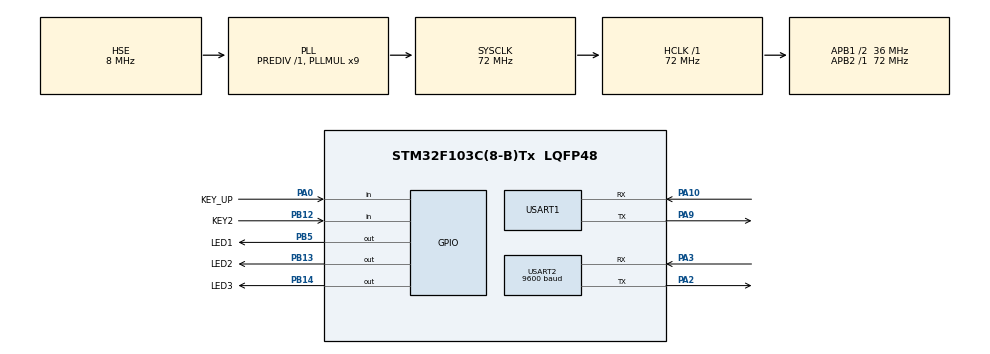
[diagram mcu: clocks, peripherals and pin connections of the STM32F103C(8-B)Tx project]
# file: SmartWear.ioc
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Mcu.Family=STM32F1
Mcu.Name=STM32F103C(8-B)Tx
Mcu.Package=LQFP48
NVIC.PriorityGroup=NVIC_PRIORITYGROUP_4
NVIC.USART1_IRQn=true\:0\:0\:false\:false\:true\:true\:true\:true
NVIC.USART2_IRQn=true\:0\:0\:false\:false\:true\:true\:true\:true
PA0-WKUP.GPIO_Label=KEY_UP
PA0-WKUP.GPIO_PuPd=GPIO_PULLDOWN
PA0-WKUP.Signal=GPIO_Input
PA10.Mode=Asynchronous
PA10.Signal=USART1_RX
PA2.Mode=Asynchronous
PA2.Signal=USART2_TX
PA3.Mode=Asynchronous
PA3.Signal=USART2_RX
PA9.Mode=Asynchronous
PA9.Signal=USART1_TX
PB12.GPIO_Label=KEY2
PB12.GPIO_PuPd=GPIO_PULLUP
PB12.Signal=GPIO_Input
PB13.GPIO_Label=LED2
PB13.GPIO_PuPd=GPIO_PULLUP
PB13.GPIO_Speed=GPIO_SPEED_FREQ_HIGH
PB13.PinState=GPIO_PIN_SET
PB13.Signal=GPIO_Output
PB14.GPIO_Label=LED3
PB14.GPIO_PuPd=GPIO_PULLUP
PB14.GPIO_Speed=GPIO_SPEED_FREQ_HIGH
PB14.PinState=GPIO_PIN_SET
PB14.Signal=GPIO_Output
PB5.GPIO_Label=LED1
PB5.GPIO_ModeDefaultOutputPP=GPIO_MODE_OUTPUT_PP
PB5.GPIO_PuPd=GPIO_PULLUP
PB5.GPIO_Speed=GPIO_SPEED_FREQ_HIGH
PB5.PinState=GPIO_PIN_SET
PB5.Signal=GPIO_Output
PD0-OSC_IN.Mode=HSE-External-Oscillator
PD0-OSC_IN.Signal=RCC_OSC_IN
PD1-OSC_OUT.Mode=HSE-External-Oscillator
PD1-OSC_OUT.Signal=RCC_OSC_OUT
ProjectManager.HeapSize=0x200
ProjectManager.StackSize=0x400
ProjectManager.TargetToolchain=MDK-ARM V5.27
RCC.AHBFreq_Value=72000000
RCC.APB1CLKDivider=RCC_HCLK_DIV2
RCC.APB1Freq_Value=36000000
RCC.APB1TimFreq_Value=72000000
RCC.APB2Freq_Value=72000000
RCC.APB2TimFreq_Value=72000000
RCC.HCLKFreq_Value=72000000
RCC.PLLMUL=RCC_PLL_MUL9
RCC.PLLSourceVirtual=RCC_PLLSOURCE_HSE
RCC.SYSCLKFreq_VALUE=72000000
RCC.SYSCLKSource=RCC_SYSCLKSOURCE_PLLCLK
RCC.USBFreq_Value=72000000
USART1.VirtualMode=VM_ASYNC
USART2.BaudRate=9600
USART2.VirtualMode=VM_ASYNC
VP_SYS_VS_ND.Mode=No_Debug
board=custom

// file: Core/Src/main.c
/* USER CODE BEGIN Header */
/**
  ******************************************************************************
  * @file           : main.c
  * @brief          : Main program body
  ******************************************************************************
  * @attention
  *
  * Copyright (c) 2023 STMicroelectronics.
  * All rights reserved.
  *
  * This software is licensed under terms that can be found in the LICENSE file
  * in the root directory of this software component.
  * If no LICENSE file comes with this software, it is provided AS-IS.
  *
  ******************************************************************************
  */
/* USER CODE END Header */
#include "main.h"
#include "usart.h"
#include "gpio.h"

/* USER CODE BEGIN Includes */
#include "led.h"
#include "key.h"
/* USER CODE END Includes */

void SystemClock_Config(void);

int main(void)
{
  /* USER CODE BEGIN 1 */
    uint8_t i = 0;
    uint16_t usCount = 0;
  /* USER CODE END 1 */

  /* MCU Configuration--------------------------------------------------------*/

  /* Reset of all peripherals, Initializes the Flash interface and the Systick. */
  HAL_Init();

  /* Configure the system clock */
  SystemClock_Config();

  /* Initialize all configured peripherals */
  MX_GPIO_Init();
  MX_USART1_UART_Init();
  MX_USART2_UART_Init();
  /* USER CODE BEGIN 2 */
  TEMP_Init();
  /* USER CODE END 2 */

  /* Infinite loop */
  while (1)
  {

    /* USER CODE BEGIN 3 */
    HAL_Delay(1);
    /* 运行指示灯：100ms */
    usCount++;
    if (usCount % 100 == 0)
    {
      GetTempInfo();
      i = !i;
    }
    if (i)    LED3_ON();
    else      LED3_OFF();

    /* 获取键值 */
    uint8_t ucKeyVal = KEY_Scan();
    switch (ucKeyVal)
    {
      case KEY_UP_PRES: printf("KEY_UP_PRES\r\n");
          break;
      case KEY2_PRES:   printf("KEY2_PRES\r\n");
          break;
    }

    /* 串口1接收数据处理 */
    if (g_ucUart1RxFlag)
    {
        printf("UART1_RX:%s\r\n", g_ucUart1RxBuf);
        g_ucUart1RxFlag = 0;
        g_ucUart1RxCnt = 0;
    }

  }
  /* USER CODE END 3 */
}

void SystemClock_Config(void)
{
  RCC_OscInitTypeDef RCC_OscInitStruct = {0};
  RCC_ClkInitTypeDef RCC_ClkInitStruct = {0};

  /** Initializes the RCC Oscillators according to the specified parameters
  * in the RCC_OscInitTypeDef structure.
  */
  RCC_OscInitStruct.OscillatorType = RCC_OSCILLATORTYPE_HSE;
  RCC_OscInitStruct.HSEState = RCC_HSE_ON;
  RCC_OscInitStruct.HSEPredivValue = RCC_HSE_PREDIV_DIV1;
  RCC_OscInitStruct.HSIState = RCC_HSI_ON;
  RCC_OscInitStruct.PLL.PLLState = RCC_PLL_ON;
  RCC_OscInitStruct.PLL.PLLSource = RCC_PLLSOURCE_HSE;
  RCC_OscInitStruct.PLL.PLLMUL = RCC_PLL_MUL9;
  if (HAL_RCC_OscConfig(&RCC_OscInitStruct) != HAL_OK)
  {
    Error_Handler();
  }

  /** Initializes the CPU, AHB and APB buses clocks
  */
  RCC_ClkInitStruct.ClockType = RCC_CLOCKTYPE_HCLK|RCC_CLOCKTYPE_SYSCLK
                              |RCC_CLOCKTYPE_PCLK1|RCC_CLOCKTYPE_PCLK2;
  RCC_ClkInitStruct.SYSCLKSource = RCC_SYSCLKSOURCE_PLLCLK;
  RCC_ClkInitStruct.AHBCLKDivider = RCC_SYSCLK_DIV1;
  RCC_ClkInitStruct.APB1CLKDivider = RCC_HCLK_DIV2;
  RCC_ClkInitStruct.APB2CLKDivider = RCC_HCLK_DIV1;

  if (HAL_RCC_ClockConfig(&RCC_ClkInitStruct, FLASH_LATENCY_2) != HAL_OK)
  {
    Error_Handler();
  }
}

void Error_Handler(void)
{
  __disable_irq();
  while (1)
  {
  }
}
